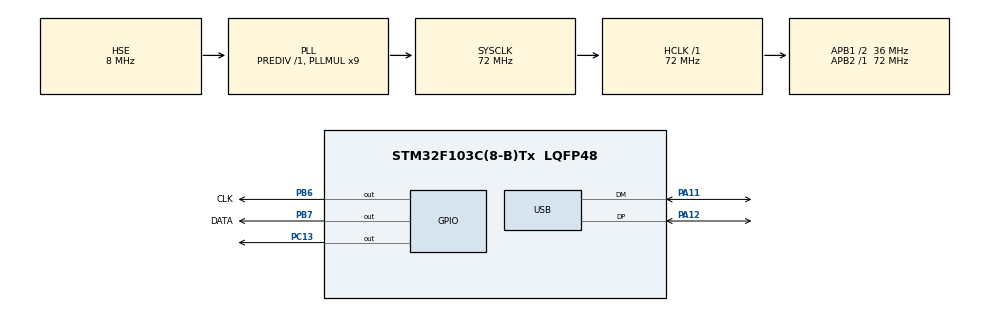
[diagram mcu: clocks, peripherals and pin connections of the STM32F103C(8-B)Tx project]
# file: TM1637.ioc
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Mcu.Family=STM32F1
Mcu.Name=STM32F103C(8-B)Tx
Mcu.Package=LQFP48
NVIC.PriorityGroup=NVIC_PRIORITYGROUP_4
NVIC.TIM3_IRQn=true\:0\:0\:false\:false\:true\:true\:true
NVIC.TIM4_IRQn=true\:0\:0\:false\:false\:true\:true\:true
NVIC.USB_LP_CAN1_RX0_IRQn=true\:0\:0\:false\:false\:true\:false\:true
PA11.Mode=Device
PA11.Signal=USB_DM
PA12.Mode=Device
PA12.Signal=USB_DP
PA13.Mode=Serial_Wire
PA13.Signal=SYS_JTMS-SWDIO
PA14.Mode=Serial_Wire
PA14.Signal=SYS_JTCK-SWCLK
PB6.GPIO_Label=CLK
PB6.GPIO_ModeDefaultOutputPP=GPIO_MODE_OUTPUT_OD
PB6.Signal=GPIO_Output
PB7.GPIO_Label=DATA
PB7.GPIO_ModeDefaultOutputPP=GPIO_MODE_OUTPUT_OD
PB7.Signal=GPIO_Output
PC13-TAMPER-RTC.Signal=GPIO_Output
PD0-OSC_IN.Mode=HSE-External-Oscillator
PD0-OSC_IN.Signal=RCC_OSC_IN
PD1-OSC_OUT.Mode=HSE-External-Oscillator
PD1-OSC_OUT.Signal=RCC_OSC_OUT
ProjectManager.HeapSize=0x200
ProjectManager.StackSize=0x400
ProjectManager.TargetToolchain=SW4STM32
RCC.AHBFreq_Value=72000000
RCC.APB1CLKDivider=RCC_HCLK_DIV2
RCC.APB1Freq_Value=36000000
RCC.APB1TimFreq_Value=72000000
RCC.APB2Freq_Value=72000000
RCC.APB2TimFreq_Value=72000000
RCC.HCLKFreq_Value=72000000
RCC.PLLMUL=RCC_PLL_MUL9
RCC.PLLSourceVirtual=RCC_PLLSOURCE_HSE
RCC.SYSCLKFreq_VALUE=72000000
RCC.SYSCLKSource=RCC_SYSCLKSOURCE_PLLCLK
RCC.USBFreq_Value=48000000
RCC.USBPrescaler=RCC_USBCLKSOURCE_PLL_DIV1_5
TIM3.AutoReloadPreload=TIM_AUTORELOAD_PRELOAD_ENABLE
TIM3.Period=999
TIM3.Prescaler=7200
TIM4.AutoReloadPreload=TIM_AUTORELOAD_PRELOAD_ENABLE
TIM4.Period=999
TIM4.Prescaler=36000
USB.low_power_enable=DISABLE
USB.lpm_enable=DISABLE
USB_DEVICE.CLASS_NAME_FS=CDC
USB_DEVICE.VirtualMode=Cdc
USB_DEVICE.VirtualModeFS=Cdc_FS
VP_TIM3_VS_ClockSourceINT.Mode=Internal
VP_TIM4_VS_ClockSourceINT.Mode=Internal
VP_USB_DEVICE_VS_USB_DEVICE_CDC_FS.Mode=CDC_FS
board=TM1637

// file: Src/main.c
/* USER CODE BEGIN Header */
/**
  ******************************************************************************
  * @file           : main.c
  * @brief          : Main program body
  ******************************************************************************
  * @attention
  *
  * <h2><center>&copy; Copyright (c) 2021 STMicroelectronics.
  * All rights reserved.</center></h2>
  *
  * This software component is licensed by ST under Ultimate Liberty license
  * SLA0044, the "License"; You may not use this file except in compliance with
  * the License. You may obtain a copy of the License at:
  *                             www.st.com/SLA0044
  *
  ******************************************************************************
  */
/* USER CODE END Header */
#include "main.h"
#include "usb_device.h"

/* USER CODE BEGIN Includes */
#include "tm1637.h"
#include "string.h"
#include "usbd_cdc_if.h"

/* USER CODE END Includes */

TIM_HandleTypeDef htim3;
TIM_HandleTypeDef htim4;

/* USER CODE BEGIN PV */
/* Private variables ---------------------------------------------------------*/
#define APP_RX_DATA_SIZE  1000
#define APP_TX_DATA_SIZE  1000

extern USBD_HandleTypeDef hUsbDeviceFS;

char str_tx[128];
char str_rx[128];

uint8_t hours=0;
uint8_t minutes=0;
int i = 0;
uint16_t j = 0;
extern uint8_t PointFlag;

extern uint8_t flagReceive;

uint8_t CDC_Transmit_FS(uint8_t* Buf, uint16_t Len);
/* USER CODE END PV */

void SystemClock_Config(void);
static void MX_GPIO_Init(void);
static void MX_TIM4_Init(void);
static void MX_TIM3_Init(void);
/* USER CODE BEGIN PFP */
/* Private function prototypes -----------------------------------------------*/

/* USER CODE END PFP */

/* USER CODE BEGIN 0 */
void USB_DEVICE_MasterHardReset(void)

{

    GPIO_InitTypeDef GPIO_InitStruct;

    GPIO_InitStruct.Pin = GPIO_PIN_12;

    GPIO_InitStruct.Mode = GPIO_MODE_OUTPUT_PP;

    GPIO_InitStruct.Pull = GPIO_PULLDOWN;

    GPIO_InitStruct.Speed = GPIO_SPEED_FREQ_HIGH;

    HAL_GPIO_Init(GPIOA, &GPIO_InitStruct);

    HAL_GPIO_WritePin(GPIOA,GPIO_PIN_12,0);

    HAL_Delay(1000);

}
/* USER CODE END 0 */

int main(void)
{

  /* MCU Configuration--------------------------------------------------------*/

  /* Reset of all peripherals, Initializes the Flash interface and the Systick. */
  HAL_Init();

  /* Configure the system clock */
  SystemClock_Config();

  /* Initialize all configured peripherals */
  MX_GPIO_Init();
  MX_TIM4_Init();
  MX_TIM3_Init();
  USB_DEVICE_MasterHardReset();
  MX_USB_DEVICE_Init();
  /* USER CODE BEGIN 2 */
  TM1637_brightness(BRIGHT_TYPICAL);
  HAL_TIM_Base_Start_IT(&htim3);
  HAL_TIM_Base_Start_IT(&htim4);
 // USB_DEVICE_MasterHardReset();
  /* USER CODE END 2 */

  /* Infinite loop */
  /* USER CODE BEGIN WHILE */

  sprintf(str_tx,"USB Transmit\r\n");
  TM1637_displayTime(hours, minutes);

  while (1)
  {

	   if (hUsbDeviceFS.dev_state == USBD_STATE_CONFIGURED) HAL_GPIO_WritePin(GPIOC, GPIO_PIN_13, GPIO_PIN_RESET);
	   else HAL_GPIO_WritePin(GPIOC, GPIO_PIN_13, GPIO_PIN_SET);

	   if(flagReceive == 1)
	     {
		   CDC_Transmit_FS(str_rx, strlen(str_rx));
		   flagReceive = 0;
	     }

    /* USER CODE END WHILE */

  }
}

void SystemClock_Config(void)
{
  RCC_OscInitTypeDef RCC_OscInitStruct = {0};
  RCC_ClkInitTypeDef RCC_ClkInitStruct = {0};
  RCC_PeriphCLKInitTypeDef PeriphClkInit = {0};

  /** Initializes the RCC Oscillators according to the specified parameters
  * in the RCC_OscInitTypeDef structure.
  */
  RCC_OscInitStruct.OscillatorType = RCC_OSCILLATORTYPE_HSE;
  RCC_OscInitStruct.HSEState = RCC_HSE_ON;
  RCC_OscInitStruct.HSEPredivValue = RCC_HSE_PREDIV_DIV1;
  RCC_OscInitStruct.HSIState = RCC_HSI_ON;
  RCC_OscInitStruct.PLL.PLLState = RCC_PLL_ON;
  RCC_OscInitStruct.PLL.PLLSource = RCC_PLLSOURCE_HSE;
  RCC_OscInitStruct.PLL.PLLMUL = RCC_PLL_MUL9;
  if (HAL_RCC_OscConfig(&RCC_OscInitStruct) != HAL_OK)
  {
    Error_Handler();
  }
  /** Initializes the CPU, AHB and APB buses clocks
  */
  RCC_ClkInitStruct.ClockType = RCC_CLOCKTYPE_HCLK|RCC_CLOCKTYPE_SYSCLK
                              |RCC_CLOCKTYPE_PCLK1|RCC_CLOCKTYPE_PCLK2;
  RCC_ClkInitStruct.SYSCLKSource = RCC_SYSCLKSOURCE_PLLCLK;
  RCC_ClkInitStruct.AHBCLKDivider = RCC_SYSCLK_DIV1;
  RCC_ClkInitStruct.APB1CLKDivider = RCC_HCLK_DIV2;
  RCC_ClkInitStruct.APB2CLKDivider = RCC_HCLK_DIV1;

  if (HAL_RCC_ClockConfig(&RCC_ClkInitStruct, FLASH_LATENCY_2) != HAL_OK)
  {
    Error_Handler();
  }
  PeriphClkInit.PeriphClockSelection = RCC_PERIPHCLK_USB;
  PeriphClkInit.UsbClockSelection = RCC_USBCLKSOURCE_PLL_DIV1_5;
  if (HAL_RCCEx_PeriphCLKConfig(&PeriphClkInit) != HAL_OK)
  {
    Error_Handler();
  }
}

static void MX_TIM3_Init(void)
{

  TIM_ClockConfigTypeDef sClockSourceConfig = {0};
  TIM_MasterConfigTypeDef sMasterConfig = {0};

  htim3.Instance = TIM3;
  htim3.Init.Prescaler = 7200;
  htim3.Init.CounterMode = TIM_COUNTERMODE_UP;
  htim3.Init.Period = 999;
  htim3.Init.ClockDivision = TIM_CLOCKDIVISION_DIV1;
  htim3.Init.AutoReloadPreload = TIM_AUTORELOAD_PRELOAD_ENABLE;
  if (HAL_TIM_Base_Init(&htim3) != HAL_OK)
  {
    Error_Handler();
  }
  sClockSourceConfig.ClockSource = TIM_CLOCKSOURCE_INTERNAL;
  if (HAL_TIM_ConfigClockSource(&htim3, &sClockSourceConfig) != HAL_OK)
  {
    Error_Handler();
  }
  sMasterConfig.MasterOutputTrigger = TIM_TRGO_RESET;
  sMasterConfig.MasterSlaveMode = TIM_MASTERSLAVEMODE_DISABLE;
  if (HAL_TIMEx_MasterConfigSynchronization(&htim3, &sMasterConfig) != HAL_OK)
  {
    Error_Handler();
  }

}

static void MX_TIM4_Init(void)
{

  TIM_ClockConfigTypeDef sClockSourceConfig = {0};
  TIM_MasterConfigTypeDef sMasterConfig = {0};

  htim4.Instance = TIM4;
  htim4.Init.Prescaler = 36000;
  htim4.Init.CounterMode = TIM_COUNTERMODE_UP;
  htim4.Init.Period = 999;
  htim4.Init.ClockDivision = TIM_CLOCKDIVISION_DIV1;
  htim4.Init.AutoReloadPreload = TIM_AUTORELOAD_PRELOAD_ENABLE;
  if (HAL_TIM_Base_Init(&htim4) != HAL_OK)
  {
    Error_Handler();
  }
  sClockSourceConfig.ClockSource = TIM_CLOCKSOURCE_INTERNAL;
  if (HAL_TIM_ConfigClockSource(&htim4, &sClockSourceConfig) != HAL_OK)
  {
    Error_Handler();
  }
  sMasterConfig.MasterOutputTrigger = TIM_TRGO_RESET;
  sMasterConfig.MasterSlaveMode = TIM_MASTERSLAVEMODE_DISABLE;
  if (HAL_TIMEx_MasterConfigSynchronization(&htim4, &sMasterConfig) != HAL_OK)
  {
    Error_Handler();
  }

}

static void MX_GPIO_Init(void)
{
  GPIO_InitTypeDef GPIO_InitStruct = {0};

  /* GPIO Ports Clock Enable */
  __HAL_RCC_GPIOC_CLK_ENABLE();
  __HAL_RCC_GPIOD_CLK_ENABLE();
  __HAL_RCC_GPIOA_CLK_ENABLE();
  __HAL_RCC_GPIOB_CLK_ENABLE();

  /*Configure GPIO pin Output Level */
  HAL_GPIO_WritePin(GPIOC, GPIO_PIN_13, GPIO_PIN_RESET);

  /*Configure GPIO pin Output Level */
  HAL_GPIO_WritePin(GPIOB, CLK_Pin|DATA_Pin, GPIO_PIN_RESET);

  /*Configure GPIO pin : PC13 */
  GPIO_InitStruct.Pin = GPIO_PIN_13;
  GPIO_InitStruct.Mode = GPIO_MODE_OUTPUT_PP;
  GPIO_InitStruct.Pull = GPIO_NOPULL;
  GPIO_InitStruct.Speed = GPIO_SPEED_FREQ_LOW;
  HAL_GPIO_Init(GPIOC, &GPIO_InitStruct);

  /*Configure GPIO pins : CLK_Pin DATA_Pin */
  GPIO_InitStruct.Pin = CLK_Pin|DATA_Pin;
  GPIO_InitStruct.Mode = GPIO_MODE_OUTPUT_OD;
  GPIO_InitStruct.Pull = GPIO_NOPULL;
  GPIO_InitStruct.Speed = GPIO_SPEED_FREQ_LOW;
  HAL_GPIO_Init(GPIOB, &GPIO_InitStruct);

}

/* USER CODE BEGIN 4 */
//==========================================================//
void Heap(void)
{
//==========================================================//
	     TM1637_clearDisplay();
         TM1637_display(0,0);
         TM1637_display(1,1);
         TM1637_display(2,2);
         TM1637_display(3,3);
	while(1)
	{
//==========================================================//
        for (hours=0;hours<24;hours++)
		      for (minutes=0;minutes<60;minutes++)
		         {
		         tik_delay(1000000);
				 TM1637_displayTime(hours,minutes);
				 }
	}
}
//==========================================================//
void Tim4Function(void)
{
	char Ind[32];

	if (PointFlag==0) minutes++;
	if (minutes==60)
	   {
	   minutes=0;
	   hours++;
	   if (hours==24) hours=0;
	   }
	 TM1637_displayTime(hours, minutes);
	 PointFlag =  PointFlag ? 0:1;

	 sprintf(Ind,":%02d:%02d", hours, minutes);
	 CDC_Transmit_FS(Ind, strlen(Ind));
}
/* USER CODE END 4 */

void Error_Handler(void)
{
  while(1)
  {
  }
}

/************************ (C) COPYRIGHT STMicroelectronics *****END OF FILE****/
